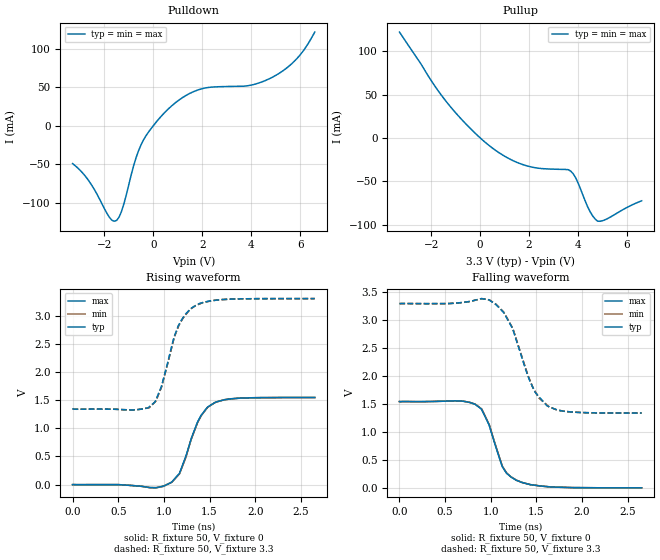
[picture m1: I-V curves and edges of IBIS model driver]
| IBIS file ex2_nomiller_tr1ps.ibs created by PYS2IBIS3
| Missouri S&T EMC Lab
[IBIS Ver] 7.1
[File Name] ex2_nomiller_tr1ps.ibs
[File Rev] 1.0
[Date] July 28, 2026
[Source] ex2 variant nomiller -- n4->out Miller caps removed
[Notes] Parameter selection; sim_time=2.653e-09, tr=tf=1.000e-12.
[Disclaimer] Experimental characterization for pybis observability study.
[Component] MCM Driver 1
[Manufacturer] MegaFLOPS Inc.
[Package]
| variable   typ   min   max
R_pkg 0 NA NA
L_pkg 0H NA NA
C_pkg 0F NA NA
[Pin]  signal_name   model_name   R_pin   L_pin   C_pin
vdd   vdd   POWER
gnd   gnd   GND
| in in dummy
out   out   driver
| End of Component
| Models and submodels in the file (1): driver (Output)
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[Model] driver
Model_type Output
Polarity Non-Inverting
Enable Active-Low
Vinl  = 0.8V
Vinh  = 2V
C_comp 5.0000pF 5.0000pF 5.0000pF
[Temperature Range] 27.0000 27.0000 27.0000
[Voltage Range] 3.3000V 3.3000V 3.3000V
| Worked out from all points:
|   slope of the pulldown table from 0 to 0.495 V, typ, clamps not added: 27.4 ohm
|   slope of the pullup table from 0 to 0.495 V, typ, clamps not added: 42.7 ohm
|   rising waveform, R_fixture 50, V_fixture 0: 20-80 % time 215ps typ, 215ps min, 215ps max; typ from 0 V to 1.54 V
|   rising waveform, R_fixture 50, V_fixture 3.3: 20-80 % time 217ps typ, 218ps min, 218ps max; typ from 1.34 V to 3.3 V
|   falling waveform, R_fixture 50, V_fixture 0: 20-80 % time 203ps typ, 203ps min, 203ps max; typ from 1.54 V to 0 V
|   falling waveform, R_fixture 50, V_fixture 3.3: 20-80 % time 259ps typ, 261ps min, 261ps max; typ from 3.3 V to 1.34 V
[Pulldown]
| Voltage   I(typ)   I(min)   I(max)
-3.3V     -48.93mA   -48.93mA   -48.93mA
-2.6V     -72.86mA   -72.86mA   -72.86mA
-1.8V     -118.2mA   -118.2mA   -118.2mA
-1.5V     -122.5mA   -122.5mA   -122.5mA
-1.3V     -110.9mA   -110.9mA   -110.9mA
-500mV    -24.59mA   -24.59mA   -24.59mA
600mV     21.34mA    21.34mA    21.34mA
1.9V      47.12mA    47.12mA    47.12mA
3.9V      51.99mA    51.99mA    51.99mA
4.9V      63.38mA    63.38mA    63.38mA
5.9V      87.99mA    87.99mA    87.99mA
6.6V      121.3mA    121.3mA    121.3mA
[Pullup]
| Voltage   I(typ)   I(min)   I(max)
-3.3V     122mA      122mA      122mA
-1.9V     61.75mA    61.75mA    61.75mA
-1.3V     38.86mA    38.86mA    38.86mA
-200mV    5.278mA    5.278mA    5.278mA
700mV     -15.75mA   -15.75mA   -15.75mA
2V        -32.92mA   -32.92mA   -32.92mA
3.7V      -38.24mA   -38.24mA   -38.24mA
3.9V      -45.89mA   -45.89mA   -45.89mA
4.5V      -85.43mA   -85.43mA   -85.43mA
4.8V      -95.97mA   -95.97mA   -95.97mA
5.1V      -94.48mA   -94.48mA   -94.48mA
6.6V      -72.53mA   -72.53mA   -72.53mA
[Ramp]
| variable   typ   min   max
dV/dt_r 0.9270/0.2143n 0.9270/0.2154n 0.9270/0.2154n
dV/dt_f 1.1766/0.2601n  1.1766/0.26n  1.1766/0.26n
R_load = 50
[Rising Waveform]
R_fixture = 50
V_fixture = 0
|time   V(typ)   V(min)   V(max)
0s        7.302nV    7.302nV    7.302nV
990.4ps   -29.47mV   -32.49mV   -32.49mV
1.081ns   37.58mV    37.1mV     37.1mV
1.168ns   190.6mV    182.9mV    182.9mV
1.24ns    496mV      482mV      482mV
1.362ns   1.089V     1.079V     1.079V
1.476ns   1.372V     1.367V     1.367V
1.559ns   1.457V     1.454V     1.454V
1.803ns   1.531V     1.531V     1.531V
2.653ns   1.545V     1.545V     1.545V
[Rising Waveform]
R_fixture = 50
V_fixture = 3.3
|time   V(typ)   V(min)   V(max)
0s        1.338V     1.338V     1.338V
844.4ps   1.387V     1.37V      1.37V
902.8ps   1.466V     1.467V     1.467V
971.8ps   1.733V     1.721V     1.721V
1.11ns    2.611V     2.593V     2.593V
1.163ns   2.833V     2.824V     2.824V
1.28ns    3.097V     3.098V     3.098V
1.389ns   3.213V     3.204V     3.204V
1.747ns   3.292V     3.292V     3.292V
2.653ns   3.3V       3.3V       3.3V
[Falling Waveform]
R_fixture = 50
V_fixture = 0
|time   V(typ)   V(min)   V(max)
0s        1.545V     1.545V     1.545V
663.8ps   1.556V     1.555V     1.555V
833.8ps   1.489V     1.493V     1.493V
897.5ps   1.412V     1.416V     1.416V
982.5ps   1.123V     1.138V     1.138V
1.126ns   380.7mV    390.6mV    390.6mV
1.219ns   196.9mV    200.2mV    200.2mV
1.33ns    101.1mV    103.1mV    103.1mV
1.657ns   14.9mV     15.04mV    15.04mV
2.653ns   74.46uV    77.7uV     77.7uV
[Falling Waveform]
R_fixture = 50
V_fixture = 3.3
|time   V(typ)   V(min)   V(max)
0s        3.3V       3.3V       3.3V
982.5ps   3.364V     3.367V     3.367V
1.139ns   3.146V     3.151V     3.151V
1.237ns   2.857V     2.866V     2.866V
1.368ns   2.187V     2.212V     2.212V
1.46ns    1.798V     1.8V       1.8V
1.522ns   1.646V     1.622V     1.622V
1.614ns   1.47V      1.481V     1.481V
1.896ns   1.356V     1.356V     1.356V
2.653ns   1.339V     1.339V     1.339V
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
